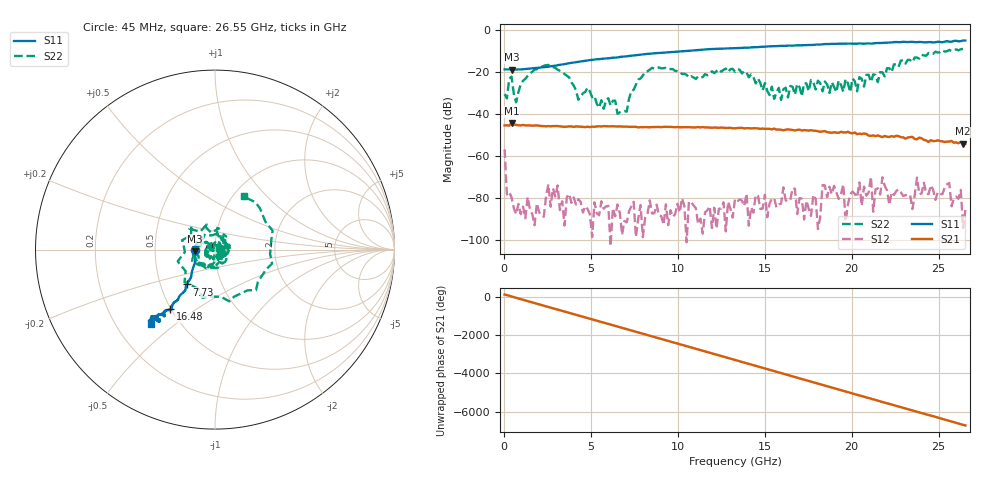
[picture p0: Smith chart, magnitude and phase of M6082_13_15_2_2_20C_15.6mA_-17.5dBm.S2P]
!  2-Port S-parameters saved by WinCal
! VAR MeasName=S-Parameters (CALIBRATED_DATA) read from VNA (C)
! VAR MeasDate=10/16/2015 12:56:34 PM
! VAR NAME=M6082_13_15_2_2_20C_15.6mA_-17.5dBm
! VAR FILENAME=M6082_13_15_2_2_20C_15.6mA_-17.5dBm.S2P
! VAR DATE=10/16/2015 12:56:34 PM
! VAR PHYS_PORTS=2,1
! VAR ObjTypeName=DATASET
! VAR IndexType=Frequency
# Hz S DB R 50
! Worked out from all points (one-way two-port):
!   201 points, 45 MHz to 26.55 GHz, reference 50 ohm
!   highest |S21| = -44.55 dB at 442.5 MHz (marker M1); lowest = -54.3 dB at 26.41 GHz (marker M2)
!   lowest |S11| = -19.0 dB at 442.5 MHz (marker M3), VSWR 1.25, Z = 40 - j0.793 ohm
!   |S11| at or under -10 dB: start of sweep to 10.82 GHz
!   |S22| runs from -40.0 to -9.2 dB; largest |S21 - S12| = 0.0058
!   S11 on the Smith chart (normalised r, x): 45 MHz: 0.80, -0.00; 7.73 GHz: 0.68, -0.28; 16.48 GHz: 0.49, -0.40; 26.55 GHz: 0.35, -0.41
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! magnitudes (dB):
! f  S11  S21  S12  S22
! 45 MHz  -19.0  -45.6  -56.9  -30.7
! 177.5 MHz  -19.0  -45.5  -78.4  -32.7
! 442.5 MHz  -19.0  -44.6  -79.7  -22.4
! 707.5 MHz  -19.0  -45.3  -87.8  -34.6
! 2.43 GHz  -17.8  -46.0  -79.1  -16.9
! 4.55 GHz  -15.0  -46.3  -87.0  -30.3
! 7.067 GHz  -12.8  -46.1  -91.6  -39.1
! 7.73 GHz  -12.0  -46.5  -89.8  -23.7
! 8.922 GHz  -11.2  -46.3  -88.3  -18.0
! 13.29 GHz  -8.8  -47.0  -80.6  -20.1
! 15.55 GHz  -7.9  -47.0  -80.1  -33.0
! 16.48 GHz  -7.6  -47.6  -80.9  -26.8
! 17.8 GHz  -7.3  -48.1  -78.5  -25.1
! 20.58 GHz  -6.7  -49.7  -83.7  -23.4
! 21.11 GHz  -6.7  -50.5  -69.9  -24.9
! 21.25 GHz  -6.6  -50.3  -86.6  -21.3
! 21.77 GHz  -6.3  -51.1  -70.2  -20.4
! 22.17 GHz  -6.2  -51.1  -83.3  -18.4
! 23.5 GHz  -5.8  -51.0  -85.3  -15.5
! 23.76 GHz  -6.0  -52.1  -70.4  -13.3
! 26.41 GHz  -5.2  -54.3  -94.3  -9.2
! 26.55 GHz  -5.2  -54.2  -85.7  -9.5
